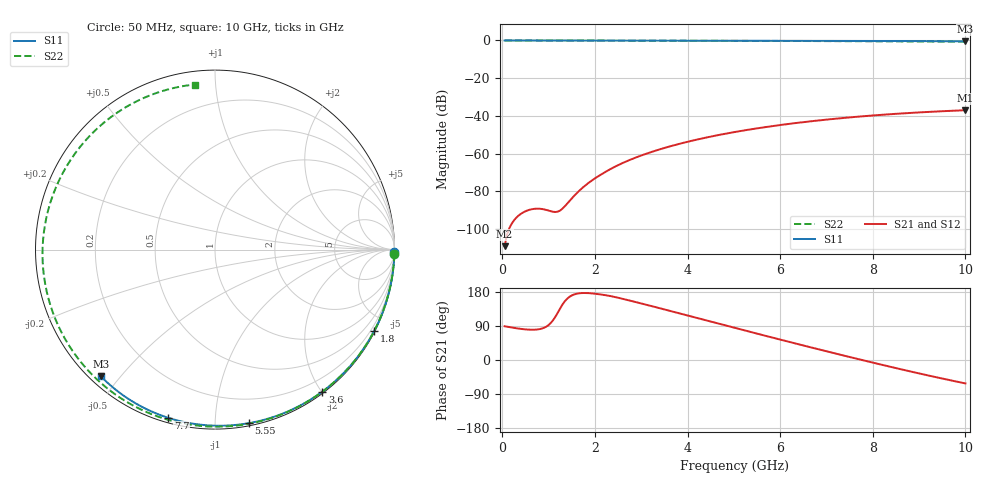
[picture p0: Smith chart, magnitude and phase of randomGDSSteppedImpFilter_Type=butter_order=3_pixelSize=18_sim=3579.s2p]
! freq	dB(S11)	phase(S11)	dB(S12)	phase(S12)
!  dB(S21)	phase(S21)	dB(S22)	phase(S22)
!S-par simulation data
#  GHz  S  DB  R 50
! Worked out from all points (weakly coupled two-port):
!   200 points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, 50 MHz to 10 GHz, reference 50 ohm
!   highest |S21| = -36.99 dB at 10 GHz (marker M1); lowest = -109.1 dB at 50 MHz (marker M2)
!   lowest |S11| = -0.4 dB at 10 GHz (marker M3), VSWR 38.98, Z = 1.54 - j22.3 ohm
!   |S11| at or under -10 dB: nowhere
!   |S22| runs from -0.7 to 0.0 dB; largest |S21 - S12| = 0
!   S11 on the Smith chart (normalised r, x): 50 MHz: open; 1.8 GHz: 0.04, -4.16; 3.6 GHz: 0.02, -2.01; 5.55 GHz: 0.02, -1.21; 7.7 GHz: 0.02, -0.76; 10 GHz: 0.03, -0.45
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0.05  -0.00 -0.8  -109.08 89.1  -109.08 89.1  -0.00 -1.4
0.8  -0.02 -12.1  -89.23 81.4  -89.23 81.4  -0.03 -22.8
1.65  -0.03 -24.8  -79.96 175.8  -79.96 175.8  -0.06 -46.4
1.75  -0.03 -26.3  -77.75 176.8  -77.75 176.8  -0.06 -49.1
1.8  -0.03 -27.0  -76.73 176.8  -76.73 176.8  -0.06 -50.4
2.1  -0.04 -31.5  -71.57 173.3  -71.57 173.3  -0.07 -58.5
2.5  -0.05 -37.3  -66.12 164.3  -66.12 164.3  -0.09 -69.0
2.9  -0.06 -43.0  -61.92 152.3  -61.92 152.3  -0.10 -79.3
3.4  -0.07 -50.1  -57.74 136.7  -57.74 136.7  -0.12 -91.9
3.6  -0.07 -52.9  -56.31 130.3  -56.31 130.3  -0.13 -96.9
4.3  -0.09 -62.5  -52.03 107.9  -52.03 107.9  -0.16 -113.9
5.05  -0.11 -72.5  -48.42 83.9  -48.42 83.9  -0.20 -131.7
5.55  -0.13 -79.0  -46.42 68.0  -46.42 68.0  -0.23 -143.4
6.15  -0.15 -86.6  -44.37 49.2  -44.37 49.2  -0.27 -157.6
6.7  -0.18 -93.4  -42.76 32.2  -42.76 32.2  -0.31 -170.8
7.2  -0.21 -99.5  -41.49 16.9  -41.49 16.9  -0.36 176.9
7.7  -0.24 -105.5  -40.38 1.9  -40.38 1.9  -0.41 164.1
8.35  -0.29 -113.1  -39.15 -17.1  -39.15 -17.1  -0.48 146.7
8.8  -0.33 -118.3  -38.44 -29.9  -38.44 -29.9  -0.53 134.0
9.25  -0.37 -123.5  -37.82 -42.3  -37.82 -42.3  -0.58 120.6
9.65  -0.41 -128.0  -37.35 -52.9  -37.35 -52.9  -0.62 108.2
10  -0.45 -132.0  -36.99 -61.8  -36.99 -61.8  -0.66 97.0
